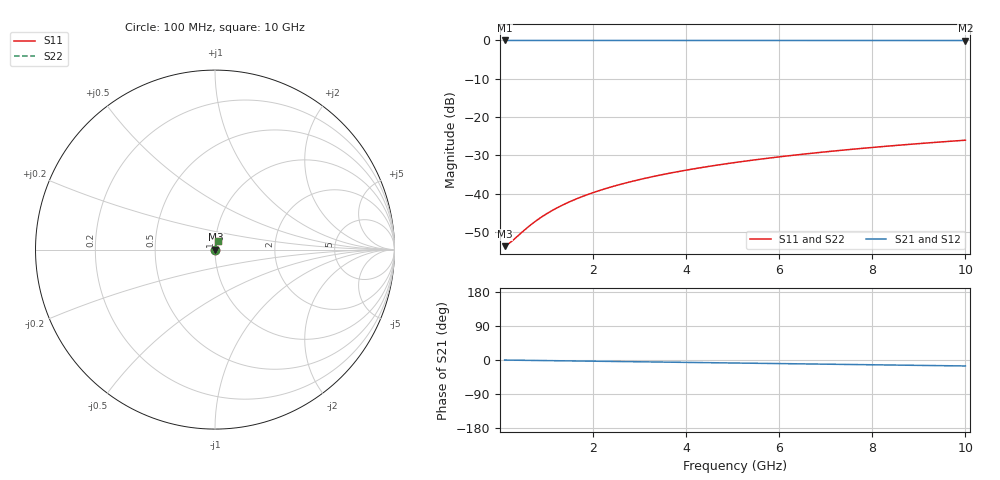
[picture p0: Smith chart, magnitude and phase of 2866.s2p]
# Hz S RI R 50.00
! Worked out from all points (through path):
!   100 points, 100 MHz to 10 GHz, reference 50 ohm
!   highest |S21| = -0.02 dB at 100 MHz (marker M1); lowest = 0.0 dB at 10 GHz (marker M2)
!   group delay of S21, straight-line fit = 4.38 ps
!   lowest |S11| = -53.7 dB at 100 MHz (marker M3), VSWR 1.00, Z = 50.2 + j0.0501 ohm
!   |S11| at or under -10 dB: start of sweep to end of sweep
!   |S22| runs from -53.7 to -26.1 dB; largest |S21 - S12| = 0
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1e8  0.002 0.000499  0.998 -0.00274  0.998 -0.00274  0.002 0.000499
2e8  0.00202 0.000998  0.998 -0.00547  0.998 -0.00547  0.00202 0.000998
3e8  0.00203 0.0015  0.9979 -0.00821  0.9979 -0.00821  0.00203 0.0015
5e8  0.00207 0.0025  0.9979 -0.0137  0.9979 -0.0137  0.00207 0.0025
7e8  0.00211 0.00349  0.9978 -0.0192  0.9978 -0.0192  0.00211 0.00349
8e8  0.00213 0.00399  0.9977 -0.0219  0.9977 -0.0219  0.00213 0.00399
1e9  0.00219 0.00499  0.9975 -0.0274  0.9975 -0.0274  0.00219 0.00499
1.2e9  0.00226 0.00598  0.9974 -0.0328  0.9974 -0.0328  0.00226 0.00598
1.4e9  0.00233 0.00698  0.9971 -0.0383  0.9971 -0.0383  0.00233 0.00698
1.6e9  0.00242 0.00797  0.9969 -0.0438  0.9969 -0.0438  0.00242 0.00797
1.8e9  0.00252 0.00896  0.9966 -0.0492  0.9966 -0.0492  0.00252 0.00896
2.1e9  0.00269 0.0105  0.9962 -0.0574  0.9962 -0.0574  0.00269 0.0105
2.5e9  0.00294 0.0124  0.9954 -0.0684  0.9954 -0.0684  0.00294 0.0124
2.9e9  0.00325 0.0144  0.9946 -0.0793  0.9946 -0.0793  0.00325 0.0144
3.4e9  0.00368 0.0169  0.9933 -0.0929  0.9933 -0.0929  0.00368 0.0169
4.2e9  0.00452 0.0207  0.991 -0.1147  0.991 -0.1147  0.00452 0.0207
5.1e9  0.00567 0.0251  0.9877 -0.1392  0.9877 -0.1392  0.00567 0.0251
5.9e9  0.00687 0.0289  0.9843 -0.1608  0.9843 -0.1608  0.00687 0.0289
6.7e9  0.00823 0.0326  0.9803 -0.1824  0.9803 -0.1824  0.00823 0.0326
7.5e9  0.00976 0.0363  0.9759 -0.2039  0.9759 -0.2039  0.00976 0.0363
8.4e9  0.0117 0.0404  0.9704 -0.228  0.9704 -0.228  0.0117 0.0404
1e10  0.0156 0.0473  0.959 -0.2705  0.959 -0.2705  0.0156 0.0473
